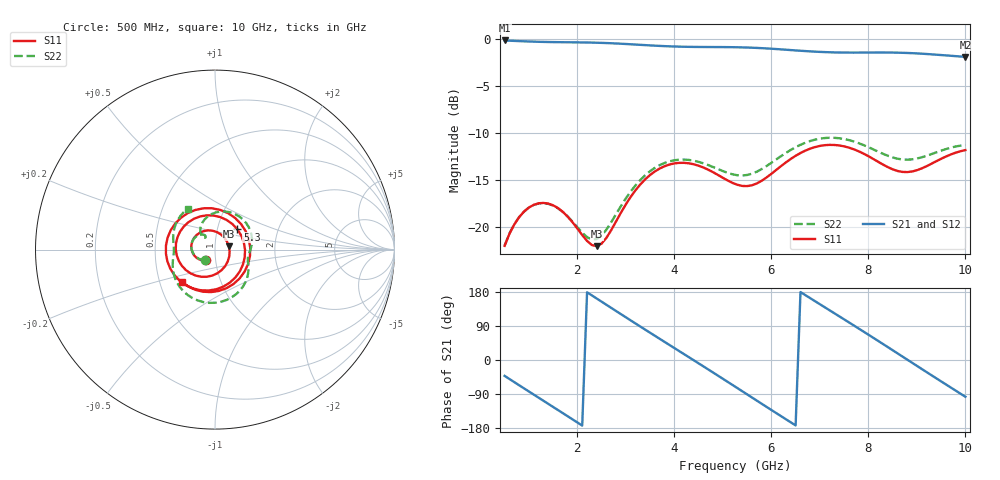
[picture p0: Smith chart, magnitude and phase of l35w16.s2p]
! Touchstone file exported from HFSS 3D Layout Design 2026.1.0
!  File:  D:/Work/ADS/HFSS_VERDICT/hfss_sma_connector_cpw.aedt
!  Generated:  02:31:11 PM Aug  6, 2026
!  Design:  SINGLE_END_SMA_CPW_30MM
!  Project:  hfss_sma_connector_cpw
! Variables:
!  $sma_Base_D = 6.25mm
!  $sma_Base_L = 8mm
!  $sma_Feet_L = 4mm
!  $sma_Feet_W = 1mm
!  $sma_Front_L = 1.5mm
!  $sma_Front_W = 6.5mm
!  $sma_Hole_D = 1.25mm
!  $sma_PTFE_D = 4.2mm
!  $sma_Pin_D = 0.95mm
!  $sma_Pin_P = 1.7mm
# GHz S MA R 50.000000
! Terminal data exported
! Port[1] = Port1
! Port[2] = S1_1_Pin_T1
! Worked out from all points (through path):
!   96 points, 500 MHz to 10 GHz, reference 50 ohm
!   highest |S21| = -0.12 dB at 500 MHz (marker M1); lowest = -1.9 dB at 10 GHz (marker M2)
!   group delay of S21, straight-line fit = 226 ps
!   lowest |S11| = -22.0 dB at 2.4 GHz (marker M3), VSWR 1.17, Z = 58.3 + j2.22 ohm
!   |S11| at or under -10 dB: start of sweep to end of sweep
!   |S22| runs from -21.9 to -10.5 dB; largest |S21 - S12| = 1.6e-14
!   S11 on the Smith chart (normalised r, x): 500 MHz: 0.89, -0.11; 5.3 GHz: 1.25, +0.29; 10 GHz: 0.65, -0.25
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0.5  0.07958 -131.6  0.9867 -41.9  0.9867 -41.9  0.0799 -134.0
0.9  0.1211 -165.0  0.9766 -74.8  0.9766 -74.8  0.1212 -167.5
1.3  0.1348 160.4  0.9693 -107.5  0.9693 -107.5  0.1343 161.9
1.7  0.1208 121.3  0.9657 -140.2  0.9657 -140.2  0.1206 136.7
2.1  0.09087 69.3  0.9631 -173.1  0.9631 -173.1  0.09353 124.8
2.4  0.07929 13.8  0.9596 162.1  0.9596 162.1  0.08647 130.2
3.1  0.1451 -95.7  0.9417 104.5  0.9417 104.5  0.155 120.0
3.7  0.2055 -153.9  0.923 55.7  0.923 55.7  0.2143 81.7
4.1  0.2201 170.7  0.9147 23.4  0.9147 23.4  0.2289 53.8
4.5  0.2126 133.8  0.9111 -8.8  0.9111 -8.8  0.2228 27.6
4.9  0.1897 92.1  0.91 -41.4  0.91 -41.4  0.204 5.7
5.3  0.1682 41.9  0.9076 -74.2  0.9076 -74.2  0.1891 -9.4
5.7  0.171 -14.4  0.9005 -107.2  0.9005 -107.2  0.1976 -21.1
6.2  0.2116 -77.5  0.8846 -148.3  0.8846 -148.3  0.2391 -41.8
6.9  0.2671 -147.8  0.8603 155.2  0.8603 155.2  0.2925 -83.3
7.3  0.2741 175.3  0.8524 123.2  0.8524 123.2  0.2992 -108.9
7.7  0.2599 137.0  0.8502 91.1  0.8502 91.1  0.286 -133.3
8.1  0.231 94.3  0.851 58.7  0.851 58.7  0.2597 -154.4
8.5  0.2034 44.5  0.8504 25.9  0.8504 25.9  0.2352 -170.5
9.1  0.2056 -37.0  0.839 -23.7  0.839 -23.7  0.2356 169.8
9.6  0.238 -95.6  0.8215 -64.6  0.8215 -64.6  0.2607 146.9
10  0.2574 -135.6  0.8073 -97.0  0.8073 -97.0  0.2737 123.5
